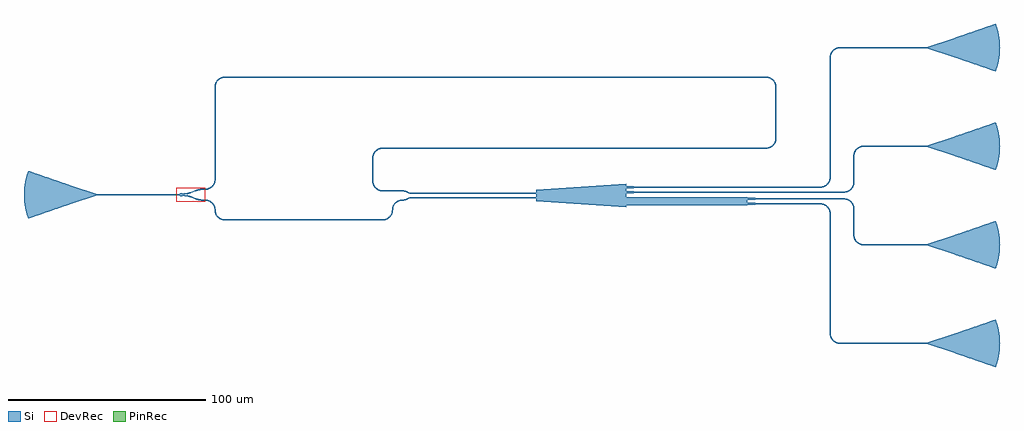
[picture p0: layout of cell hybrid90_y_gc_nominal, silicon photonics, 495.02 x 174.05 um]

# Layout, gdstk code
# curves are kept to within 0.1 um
from math import pi, radians
import gdstk
lib = gdstk.Library(unit=1e-6, precision=1e-09)
def R(c, l, rs):  # rectangles x0, y0, x1, y1
    for r in rs: c.add(gdstk.rectangle(r[:2], r[2:], *l))
def P(c, l, *ps):  # polygons
    for p in ps: c.add(gdstk.Polygon(p, *l))
Si = (1, 0)
PinRec = (1, 10)
DevRec = (68, 0)

ebeam_y_1550 = lib.new_cell('ebeam_y_1550')
R(ebeam_y_1550, Si, [(6.5,-3,7.4,-2.5), (-7.4,-0.25,-6,0.25), (6.5,2.5,7.4,3)])
P(ebeam_y_1550, Si, [(6.5,-3),(6.5,-2.5),(6.237,-2.497),(6.237,-2.997)],
  [(5.033,-2.404),(3.731,-2.154),(2.445,-1.744),(2.265,-2.21),(3.59,-2.634),(5.033,-2.908)],
  [(6.237,-2.997),(6.237,-2.497),(5.033,-2.404),(5.033,-2.908)],
  [(2.445,-1.744),(0.235,-0.89),(0.055,-1.356),(2.265,-2.21)],
  [(-0.762,-0.555),(-2.381,-0.212),(-4,-0.1),(-4,-0.6),(-2.334,-0.724),(-0.762,-1.076)],
  [(0.235,-0.89),(-0.762,-0.555),(-0.762,-1.076),(0.049,-1.354)],
  [(6.244,2.497),(6.5,2.5),(6.5,3),(6.237,2.997)],
  [(2.451,1.746),(3.731,2.154),(5.033,2.404),(5.033,2.908),(3.59,2.634),(2.267,2.211)],
  [(5.112,2.414),(6.237,2.497),(6.237,2.997),(5.033,2.908),(5.033,2.404)],
  [(2.445,1.744),(2.265,2.21),(0.055,1.356),(0.235,0.89)],
  [(-3.958,0.1),(-2.381,0.212),(-0.762,0.555),(-0.762,1.076),(-2.334,0.724),(-4,0.6)],
  [(-0.72,0.567),(0.235,0.89),(0.055,1.356),(-0.762,1.076),(-0.762,0.555)],
  [(-5.122,0.662),(-5.442,0.374),(-5.808,0.255),(-6,0.25),(-6,-0.25),(-5.817,-0.253),(-5.442,-0.374),(-5.122,-0.662)],
  [(-4.91,-0.703),(-4,-0.6),(-4,0.6),(-4.538,0.703),(-5.122,0.662),(-5.122,-0.662)])
R(ebeam_y_1550, PinRec, [(7.35,-3,7.45,-2.5), (-7.45,-0.25,-7.35,0.25), (7.35,2.5,7.45,3)])
R(ebeam_y_1550, DevRec, [(-7.4,-3.5,7.4,3.5)])
ebeam_y_1550.add(gdstk.Label('opt2', (7.4,2.75), layer=1, texttype=10))
ebeam_y_1550.add(gdstk.Label('opt3', (7.4,-2.75), layer=1, texttype=10))
ebeam_y_1550.add(gdstk.Label('opt1', (-7.4,0), layer=1, texttype=10))
ebeam_y_1550.add(gdstk.Label('Ref: Y Zhang, Opt. Express, 21/1, 2013', (-7.5,-1), layer=10, texttype=0))
ebeam_y_1550.add(gdstk.Label('Component=ebeam_y_1550', (-6,1.5), layer=68, texttype=0))

hybrid90_nominal = lib.new_cell('hybrid90_nominal')
P(hybrid90_nominal, Si, [(127,4.505),(65.5,4.505),(57.5,5.005),(57.5,6),(12,3.038),(12,1.518),(2,1.268),(2,0.768),(12,0.518),(12,-0.518),(2,-0.768),(2,-1.268),(12,-1.518),(12,-3.038),(57.5,-6),(57.5,-5.005),(119,-5.005),(129,-4.505),(129,-4.005),(119,-3.505),(119,-2.495),(129,-1.995),(129,-1.495),(119,-0.995),(57.5,-0.995),(57.5,0.995),(65.5,1.495),(129,1.495),(129,1.995),(65.5,1.995),(57.5,2.495),(57.5,3.505),(65.5,4.005),(129,4.005),(129,4.505)])

bend__4ccwvx2s5jjpbrppt3 = lib.new_cell('bend__4CCWVX2S5JJPBRPPT3SB43K4GC5NSA5TC4VQ5S3XEP3GLUS5GKPA')
P(bend__4ccwvx2s5jjpbrppt3, Si, [(0,-0.25),(0.873,-0.331),(1.51,-0.496),(2.501,-0.961),(3.2,-1.49),(3.791,-2.137),(4.345,-3.081),(4.624,-3.912),(4.75,-5),(5.25,-5),(5.161,-4.035),(4.803,-2.879),(4.19,-1.836),(3.537,-1.12),(2.555,-0.413),(1.897,-0.105),(1.202,0.111),(0,0.25)])

bend__76s6f7eh4idhcps23q = lib.new_cell('bend__76S6F7EH4IDHCPS23QG6BLRDTFOK2CAHYQXKUBOHAKYPNHVK3SBQ')
P(bend__76s6f7eh4idhcps23q, Si, [(0,-0.25),(0.965,-0.161),(1.897,0.105),(2.764,0.536),(3.537,1.12),(4.19,1.836),(4.803,2.879),(5.161,4.035),(5.25,5),(4.75,5),(4.624,3.912),(4.345,3.081),(4.039,2.499),(3.359,1.641),(2.501,0.961),(1.919,0.655),(1.088,0.376),(0,0.25)])

straight__uwgzfninm3yl2n = lib.new_cell('straight__UWGZFNINM3YL2NLPM22QVDY2ZQT2QVIKS4VQEO2UER2KHA3ZY4NA')
R(straight__uwgzfninm3yl2n, Si, [(0,-0.25,80,0.25)])

l1_nominal = lib.new_cell('L1_nominal')
l1_nominal.add(gdstk.Reference(bend__4ccwvx2s5jjpbrppt3, (-156,-2.35)))
l1_nominal.add(gdstk.Reference(bend__76s6f7eh4idhcps23q, (-151,-7.35), rotation=3*pi/2))
l1_nominal.add(gdstk.Reference(straight__uwgzfninm3yl2n, (-146,-12.35)))
l1_nominal.add(gdstk.Reference(bend__76s6f7eh4idhcps23q, (-66,-12.35)))
l1_nominal.add(gdstk.Reference(bend__4ccwvx2s5jjpbrppt3, (-61,-7.35), rotation=pi/2))

straight__gfvuvld72ni4ya = lib.new_cell('straight__GFVUVLD72NI4YAWHBYMZ47ADLQYHIJWNV35WOQL7MZZVGTIYRM7A')
R(straight__gfvuvld72ni4ya, Si, [(0,-0.25,46.85,0.25)])

straight__w7mluvcso7pzks = lib.new_cell('straight__W7MLUVCSO7PZKSJU63TFPWN4XL6OE4T3TJLOKFZANIX5WQZWIT2A')
R(straight__w7mluvcso7pzks, Si, [(0,-0.25,274.451,0.25)])

straight__fu6oy7zhddxzih = lib.new_cell('straight__FU6OY7ZHDDXZIHJ53X5LPZG67VMQXNTIHIPK6NGZ3AVRLNFARKYA')
R(straight__fu6oy7zhddxzih, Si, [(0,-0.25,26,0.25)])

straight__47eb3ujqxcscz6 = lib.new_cell('straight__47EB3UJQXCSCZ6WNPCSXEQE5SLSE4UH7W4TY4SVGLXG4ALZHGVOA')
R(straight__47eb3ujqxcscz6, Si, [(0,-0.25,194.451,0.25)])

straight__kkzbeovevb3cwx = lib.new_cell('straight__KKZBEOVEVB3CWXONE2L2XZCYXB3ZTODLFYRJSTMQGGPZGSXAVAJA')
R(straight__kkzbeovevb3cwx, Si, [(0,-0.25,11.65,0.25)])

straight__3kb6m6h6vls4hv = lib.new_cell('straight__3KB6M6H6VLS4HVJIMNSSPEP34UMOWWQ6DFLWZRYADSUOTNK55ADA')
R(straight__3kb6m6h6vls4hv, Si, [(0,-0.25,10,0.25)])

l2_nominal = lib.new_cell('L2_nominal')
l2_nominal.add(gdstk.Reference(bend__76s6f7eh4idhcps23q, (-156,3.15)))
l2_nominal.add(gdstk.Reference(straight__gfvuvld72ni4ya, (-151,8.15), rotation=pi/2))
l2_nominal.add(gdstk.Reference(bend__4ccwvx2s5jjpbrppt3, (-151,55), rotation=pi/2))
l2_nominal.add(gdstk.Reference(straight__w7mluvcso7pzks, (-146,60)))
l2_nominal.add(gdstk.Reference(bend__4ccwvx2s5jjpbrppt3, (128.451,60)))
l2_nominal.add(gdstk.Reference(straight__fu6oy7zhddxzih, (133.451,55), rotation=3*pi/2))
l2_nominal.add(gdstk.Reference(bend__4ccwvx2s5jjpbrppt3, (133.451,29), rotation=3*pi/2))
l2_nominal.add(gdstk.Reference(straight__47eb3ujqxcscz6, (128.451,24), rotation=pi))
l2_nominal.add(gdstk.Reference(bend__76s6f7eh4idhcps23q, (-66,24), rotation=pi))
l2_nominal.add(gdstk.Reference(straight__kkzbeovevb3cwx, (-71,19), rotation=3*pi/2))
l2_nominal.add(gdstk.Reference(bend__76s6f7eh4idhcps23q, (-71,7.35), rotation=3*pi/2))
l2_nominal.add(gdstk.Reference(straight__3kb6m6h6vls4hv, (-66,2.35)))

s_bend__7miof5fdobqqzavs = lib.new_cell('s_bend__7MIOF5FDOBQQZAVSWZKLBWNUPZ5WYH6LDNP2P2S22CU66DFF3JYQ')
P(s_bend__7miof5fdobqqzavs, Si, [(0,-0.25),(0.741,-0.308),(1.464,-0.481),(2.857,-1.131),(3.632,-1.404),(4.987,-1.582),(4.987,-1.082),(4.246,-1.024),(3.523,-0.851),(2.13,-0.201),(1.355,0.072),(0,0.25)])

straight__wrccaubebez5wd = lib.new_cell('straight__WRCCAUBEBEZ5WDMVOSRJ4RQBAQPUTJLFTC6ZKUHHNIHPBL6KMGWQ')
R(straight__wrccaubebez5wd, Si, [(0,-0.25,53.013,0.25)])

liga1_nominal = lib.new_cell('liga1_nominal')
liga1_nominal.add(gdstk.Reference(s_bend__7miof5fdobqqzavs, (-56,2.35)))
liga1_nominal.add(gdstk.Reference(straight__wrccaubebez5wd, (-51.013,1.018)))

s_bend__23h3v3ljgjnircem = lib.new_cell('s_bend__23H3V3LJGJNIRCEMIGE6JEDZVOSHDCM6BVLMPQINLIBSTQOBLNZQ')
P(s_bend__23h3v3ljgjnircem, Si, [(0,-0.25),(1.355,-0.072),(2.13,0.201),(3.523,0.851),(4.246,1.024),(4.987,1.082),(4.987,1.582),(3.632,1.404),(2.857,1.131),(1.464,0.481),(0.741,0.308),(0,0.25)])

liga2_nominal = lib.new_cell('liga2_nominal')
liga2_nominal.add(gdstk.Reference(s_bend__23h3v3ljgjnircem, (-56,-2.35)))
liga2_nominal.add(gdstk.Reference(straight__wrccaubebez5wd, (-51.013,-1.018)))

hybrid90_y_nominal = lib.new_cell('hybrid90_y_nominal')
hybrid90_y_nominal.add(gdstk.Reference(ebeam_y_1550, (-163.4,0.4)))
hybrid90_y_nominal.add(gdstk.Reference(hybrid90_nominal, (0,0)))
hybrid90_y_nominal.add(gdstk.Reference(l1_nominal, (0,0)))
hybrid90_y_nominal.add(gdstk.Reference(l2_nominal, (0,0)))
hybrid90_y_nominal.add(gdstk.Reference(liga1_nominal, (0,0)))
hybrid90_y_nominal.add(gdstk.Reference(liga2_nominal, (0,0)))

saida_3_nominal = lib.new_cell('saida_3_nominal')
P(saida_3_nominal, Si, [(129,4.005),(156.484,4.027),(157.202,4.144),(157.897,4.36),(158.555,4.668),(159.164,5.065),(160.039,5.901),(160.7,6.915),(161.111,8.053),(161.25,9.255),(161.25,70),(161.376,71.088),(161.655,71.919),(162.209,72.863),(162.965,73.654),(163.499,74.039),(164.49,74.504),(165.127,74.669),(166,74.75),(210,74.75),(210,75.25),(166,75.25),(165.035,75.161),(164.103,74.895),(163.236,74.464),(162.463,73.88),(161.81,73.164),(161.197,72.121),(160.889,71.202),(160.756,70.242),(160.75,9.255),(160.624,8.167),(160.252,7.138),(159.654,6.22),(158.863,5.464),(158.311,5.105),(157.51,4.751),(156.438,4.525),(129,4.505)])

gratingcoupler_te_oxide_ = lib.new_cell('GratingCoupler_TE_Oxide_8degrees')
P(gratingcoupler_te_oxide_, Si, [(-9.525,27.851),(-8.369,28.255),(-7.253,28.59),(-6.123,28.877),(-5.042,29.104),(-3.769,29.313),(-2.487,29.462),(-1.321,29.544),(-0.092,29.576),(1.137,29.552),(2.364,29.473),(3.403,29.362),(4.558,29.191),(5.884,28.931),(7.135,28.622),(8.369,28.255),(9.583,27.83),(9.614,27.92),(8.513,28.309),(7.277,28.683),(5.963,29.012),(4.816,29.243),(3.72,29.417),(2.31,29.574),(1.141,29.648),(-0.093,29.672),(-1.511,29.63),(-2.74,29.534),(-4.086,29.364),(-5.3,29.152),(-6.143,28.971),(-6.801,28.81),(-8.103,28.44),(-8.746,28.231),(-9.614,27.92),(-9.583,27.83)],
  [(-9.579,28.007),(-7.413,28.718),(-5.252,29.234),(-2.87,29.593),(-0.587,29.738),(2.131,29.661),(4.645,29.346),(7.175,28.784),(9.636,27.986),(9.778,28.397),(7.341,29.19),(4.713,29.776),(2.1,30.1),(-0.659,30.172),(-3.659,29.937),(-6.553,29.394),(-8.122,28.963),(-9.778,28.397),(-9.636,27.986)],
  [(-9.684,28.51),(-8.5,28.92),(-7.358,29.26),(-6.263,29.537),(-5.095,29.781),(-3.792,29.992),(-2.481,30.141),(-1.226,30.225),(-0.094,30.252),(1.226,30.225),(2.356,30.152),(3.419,30.041),(4.662,29.858),(5.957,29.606),(7.237,29.293),(8.5,28.92),(9.802,28.466),(9.833,28.556),(8.647,28.973),(7.382,29.353),(6.222,29.645),(5.049,29.887),(3.805,30.087),(2.552,30.231),(1.23,30.321),(-0.095,30.348),(-1.23,30.321),(-2.552,30.231),(-3.805,30.087),(-5.173,29.864),(-5.976,29.7),(-6.773,29.513),(-8.167,29.125),(-9.005,28.854),(-9.833,28.556),(-9.802,28.466)],
  [(-9.619,28.71),(-7.338,29.438),(-5.123,29.946),(-2.872,30.272),(-0.601,30.414),(2.117,30.34),(4.75,30.013),(7.338,29.438),(9.855,28.622),(9.997,29.033),(7.32,29.894),(4.818,30.443),(2.083,30.779),(-0.609,30.849),(-3.678,30.616),(-6.513,30.097),(-8.365,29.593),(-9.997,29.033),(-9.855,28.622)],
  [(-9.961,29.124),(-8.69,29.566),(-7.708,29.862),(-6.403,30.197),(-5.146,30.458),(-3.877,30.662),(-2.472,30.82),(-1.189,30.903),(-0.096,30.928),(1.189,30.903),(2.344,30.831),(3.559,30.704),(4.703,30.536),(6.027,30.281),(7.337,29.964),(8.69,29.566),(10.021,29.102),(10.052,29.193),(9.327,29.455),(8.656,29.678),(7.546,30.007),(6.423,30.291),(5.731,30.442),(4.971,30.587),(3.698,30.783),(2.48,30.916),(1.193,30.999),(-0.097,31.024),(-1.451,30.987),(-2.801,30.886),(-4.145,30.721),(-5.415,30.505),(-5.983,30.389),(-6.924,30.17),(-7.546,30.007),(-8.411,29.755),(-9.327,29.455),(-10.052,29.193),(-10.021,29.102)],
  [(-10.014,29.28),(-7.874,29.988),(-5.427,30.575),(-3,30.938),(-0.549,31.091),(2.099,31.019),(4.856,30.68),(7.439,30.109),(10.074,29.258),(10.216,29.669),(7.732,30.48),(4.924,31.11),(2.063,31.458),(-0.623,31.525),(-3.693,31.295),(-6.783,30.726),(-8.548,30.241),(-10.216,29.669),(-10.074,29.258)],
  [(-10.178,29.761),(-9.005,30.172),(-7.624,30.585),(-6.287,30.915),(-5.129,31.147),(-3.832,31.35),(-2.526,31.494),(-1.15,31.581),(-0.099,31.604),(1.15,31.581),(2.526,31.494),(3.832,31.35),(5,31.17),(6.287,30.915),(7.624,30.585),(9.005,30.172),(10.24,29.738),(10.271,29.829),(9.032,30.264),(7.774,30.643),(6.563,30.951),(5.145,31.242),(3.778,31.454),(2.468,31.595),(1.153,31.677),(-0.099,31.7),(-1.482,31.662),(-2.862,31.559),(-4.17,31.4),(-5.598,31.157),(-6.563,30.951),(-7.266,30.779),(-8.594,30.403),(-9.468,30.118),(-10.271,29.829),(-10.24,29.738)],
  [(-10.232,29.917),(-7.855,30.694),(-5.481,31.252),(-2.934,31.624),(-0.561,31.767),(2.211,31.688),(4.961,31.347),(7.728,30.729),(10.293,29.894),(10.435,30.305),(7.769,31.169),(5.029,31.777),(2.041,32.137),(-0.636,32.201),(-3.64,31.983),(-6.733,31.431),(-8.54,30.948),(-10.435,30.305),(-10.293,29.894)],
  [(-10.396,30.397),(-9.134,30.838),(-7.787,31.239),(-6.618,31.532),(-5.437,31.777),(-4.18,31.984),(-2.848,32.143),(-1.442,32.245),(-0.101,32.28),(1.241,32.254),(2.447,32.179),(3.781,32.038),(5.041,31.848),(6.291,31.605),(7.787,31.239),(9.134,30.838),(10.459,30.374),(10.49,30.465),(9.161,30.93),(7.81,31.332),(6.441,31.67),(5.188,31.92),(3.992,32.107),(2.521,32.269),(1.245,32.35),(-0.101,32.376),(-1.379,32.344),(-2.789,32.245),(-4.192,32.079),(-5.585,31.847),(-7.03,31.533),(-7.81,31.332),(-8.584,31.11),(-9.479,30.825),(-10.49,30.465),(-10.459,30.374)],
  [(-10.449,30.553),(-8.022,31.347),(-5.531,31.93),(-2.997,32.297),(-0.506,32.444),(2.392,32.352),(5.133,32.002),(7.892,31.383),(10.512,30.53),(10.654,30.941),(7.867,31.841),(5.202,32.432),(2.288,32.797),(-0.581,32.878),(-2.288,32.797),(-3.851,32.637),(-6.941,32.075),(-8.654,31.617),(-10.654,30.941),(-10.512,30.53)],
  [(-10.55,31.058),(-9.52,31.42),(-8.082,31.857),(-6.823,32.177),(-5.483,32.455),(-4.064,32.682),(-2.771,32.829),(-1.473,32.92),(-0.034,32.956),(1.13,32.935),(2.566,32.847),(3.928,32.7),(5.146,32.515),(6.489,32.252),(7.818,31.929),(9.13,31.546),(9.843,31.311),(10.678,31.01),(10.709,31.101),(9.287,31.597),(8.105,31.95),(6.843,32.271),(5.432,32.562),(4.144,32.768),(2.847,32.918),(1.477,33.016),(-0.034,33.052),(-1.477,33.016),(-2.984,32.905),(-4.28,32.749),(-5.701,32.512),(-6.441,32.361),(-7.31,32.159),(-8.105,31.95),(-8.829,31.74),(-9.872,31.402),(-10.709,31.101),(-10.678,31.01)],
  [(-10.539,31.238),(-8.189,32),(-5.646,32.595),(-3.128,32.963),(-0.516,33.12),(2.442,33.026),(5.24,32.669),(8.189,32),(10.731,31.166),(10.873,31.578),(8.163,32.459),(5.103,33.134),(2.335,33.471),(-0.593,33.554),(-3.723,33.334),(-5.515,33.062),(-6.948,32.766),(-8.965,32.227),(-10.873,31.578),(-10.731,31.166)],
  [(-10.831,31.67),(-9.45,32.151),(-8.18,32.529),(-6.963,32.837),(-5.596,33.121),(-4.216,33.343),(-2.828,33.502),(-1.363,33.602),(-0.035,33.632),(1.293,33.605),(2.41,33.538),(3.8,33.397),(5.183,33.194),(6.418,32.958),(7.641,32.672),(8.449,32.454),(9.251,32.214),(10.045,31.953),(10.897,31.646),(10.928,31.737),(9.61,32.2),(8.204,32.622),(6.983,32.931),(5.543,33.228),(4.089,33.457),(2.836,33.598),(1.297,33.701),(-0.035,33.728),(-1.297,33.701),(-2.836,33.598),(-4.228,33.438),(-5.749,33.19),(-6.436,33.052),(-7.323,32.85),(-8.069,32.659),(-9.01,32.389),(-10.008,32.067),(-10.928,31.737),(-10.897,31.646)],
  [(-10.885,31.827),(-8.356,32.653),(-5.83,33.247),(-3.331,33.621),(-0.527,33.796),(2.352,33.711),(5.14,33.371),(8.153,32.709),(10.95,31.802),(11.092,32.214),(8.19,33.15),(5.486,33.753),(2.524,34.134),(-0.605,34.23),(-2.382,34.145),(-3.939,33.988),(-7.157,33.41),(-9.145,32.876),(-11.092,32.214),(-10.95,31.802)],
  [(-11.049,32.307),(-9.64,32.797),(-8.413,33.164),(-7.033,33.513),(-5.568,33.812),(-4.16,34.032),(-2.813,34.182),(-1.462,34.274),(-0.036,34.308),(1.462,34.274),(2.813,34.182),(4.16,34.032),(5.428,33.837),(6.825,33.56),(7.725,33.346),(8.413,33.164),(9.843,32.731),(11.116,32.282),(11.147,32.373),(9.87,32.823),(8.437,33.257),(7.123,33.591),(5.654,33.894),(4.242,34.118),(2.75,34.284),(1.466,34.37),(-0.036,34.404),(-1.466,34.37),(-3.035,34.258),(-3.888,34.164),(-4.596,34.068),(-5.865,33.855),(-7.331,33.542),(-8.161,33.332),(-8.917,33.12),(-10.141,32.733),(-11.147,32.373),(-11.116,32.282)],
  [(-11.102,32.463),(-8.523,33.306),(-5.947,33.912),(-3.326,34.301),(-0.466,34.473),(2.542,34.374),(5.525,33.99),(8.247,33.382),(11.169,32.438),(11.311,32.85),(8.212,33.842),(5.38,34.457),(2.357,34.825),(-0.544,34.907),(-2.357,34.825),(-3.945,34.668),(-5.666,34.407),(-7.228,34.086),(-9.257,33.546),(-11.311,32.85),(-11.169,32.438)],
  [(-11.267,32.943),(-10.037,33.376),(-8.649,33.798),(-7.243,34.157),(-6.391,34.342),(-5.678,34.478),(-4.314,34.693),(-2.941,34.849),(-1.563,34.946),(-0.036,34.984),(0.764,34.975),(1.563,34.946),(2.796,34.862),(4.17,34.712),(5.463,34.516),(6.818,34.252),(7.878,34.003),(8.649,33.798),(9.622,33.509),(10.517,33.214),(11.335,32.918),(11.366,33.009),(10.064,33.468),(8.673,33.891),(7.263,34.251),(5.837,34.547),(4.614,34.748),(3.892,34.844),(3.022,34.938),(1.567,35.042),(0.766,35.071),(-0.036,35.08),(-1.567,35.042),(-3.095,34.931),(-4.614,34.748),(-6.123,34.493),(-6.907,34.331),(-7.758,34.132),(-9.232,33.729),(-10.34,33.376),(-11.366,33.009),(-11.335,32.918)],
  [(-11.32,33.1),(-8.69,33.959),(-6.064,34.577),(-3.319,34.981),(-0.475,35.149),(2.591,35.048),(5.561,34.669),(8.55,33.998),(11.388,33.074),(11.53,33.486),(8.656,34.42),(5.63,35.099),(2.55,35.488),(-0.555,35.583),(-2.402,35.499),(-4.095,35.33),(-7.368,34.746),(-9.506,34.174),(-11.53,33.486),(-11.388,33.074)],
  [(-11.484,33.58),(-10.09,34.067),(-8.816,34.451),(-7.383,34.817),(-5.933,35.118),(-4.544,35.343),(-3.735,35.446),(-2.924,35.529),(-1.445,35.628),(-0.037,35.66),(1.445,35.628),(2.777,35.542),(4.103,35.402),(5.568,35.183),(6.804,34.945),(8.102,34.642),(9.101,34.37),(9.949,34.112),(10.86,33.807),(11.554,33.554),(11.585,33.645),(10.188,34.136),(8.84,34.544),(7.402,34.911),(5.876,35.226),(4.63,35.428),(3.819,35.533),(3.006,35.618),(1.449,35.724),(-0.037,35.756),(-1.449,35.724),(-3.006,35.618),(-3.819,35.533),(-4.63,35.428),(-6.022,35.199),(-6.895,35.024),(-7.763,34.825),(-8.625,34.603),(-9.481,34.358),(-10.539,34.019),(-11.585,33.645),(-11.554,33.554)],
  [(-11.538,33.736),(-8.929,34.592),(-6.18,35.242),(-3.457,35.646),(-0.633,35.822),(2.567,35.728),(5.521,35.361),(8.571,34.691),(11.607,33.71),(11.749,34.122),(8.748,35.094),(5.514,35.804),(2.523,36.168),(-0.565,36.259),(-2.373,36.179),(-4.173,36.001),(-5.959,35.726),(-7.508,35.406),(-9.615,34.845),(-11.749,34.122),(-11.607,33.71)],
  [(-11.702,34.216),(-10.353,34.689),(-9.634,34.915),(-8.765,35.164),(-7.963,35.372),(-7.155,35.56),(-5.823,35.824),(-4.406,36.044),(-3.055,36.196),(-1.548,36.3),(-0.038,36.336),(1.548,36.3),(2.754,36.222),(4.181,36.073),(5.674,35.85),(7.007,35.592),(8.328,35.28),(9.128,35.063),(9.994,34.804),(10.852,34.522),(11.773,34.19),(11.804,34.281),(10.524,34.734),(9.007,35.197),(7.542,35.571),(5.987,35.892),(4.492,36.129),(2.912,36.305),(1.552,36.396),(-0.038,36.432),(-1.552,36.396),(-2.384,36.347),(-3.289,36.27),(-4.792,36.087),(-6.359,35.822),(-7.174,35.654),(-7.984,35.465),(-8.716,35.277),(-9.588,35.029),(-10.81,34.638),(-11.804,34.281),(-11.773,34.19)],
  [(-11.756,34.373),(-9.17,35.224),(-6.297,35.907),(-3.371,36.334),(-0.645,36.498),(2.54,36.408),(5.551,36.041),(8.659,35.365),(11.826,34.346),(11.968,34.758),(8.985,35.728),(5.919,36.419),(2.8,36.824),(-0.499,36.936),(-2.264,36.864),(-4.098,36.691),(-5.919,36.419),(-7.573,36.083),(-9.941,35.45),(-11.968,34.758),(-11.826,34.346)],
  [(-11.848,34.88),(-10.399,35.382),(-9.002,35.798),(-7.588,36.154),(-6.007,36.477),(-4.564,36.704),(-2.959,36.883),(-1.5,36.979),(-0.038,37.012),(1.5,36.979),(2.959,36.883),(4.259,36.744),(5.78,36.517),(7.138,36.254),(8.409,35.955),(9.446,35.673),(10.399,35.382),(11.199,35.114),(11.992,34.826),(12.023,34.917),(11.301,35.18),(10.427,35.474),(9.026,35.891),(7.682,36.231),(6.098,36.558),(4.652,36.789),(3.043,36.972),(1.427,37.078),(-0.039,37.108),(-1.581,37.071),(-3.12,36.965),(-4.652,36.789),(-5.414,36.675),(-6.325,36.516),(-7.231,36.332),(-8.057,36.142),(-8.952,35.911),(-9.692,35.701),(-10.865,35.33),(-12.023,34.917),(-11.992,34.826)],
  [(-6.477,18.94),(-5.651,19.227),(-4.852,19.464),(-4.164,19.637),(-3.223,19.829),(-2.397,19.956),(-1.608,20.042),(-0.815,20.094),(-0.063,20.112),(0.69,20.099),(1.399,20.059),(2.19,19.982),(2.976,19.871),(3.797,19.718),(4.811,19.475),(5.651,19.227),(6.516,18.925),(6.548,19.016),(5.838,19.267),(4.956,19.535),(4.02,19.768),(3.197,19.931),(2.409,20.051),(1.657,20.134),(0.819,20.19),(-0.063,20.208),(-0.945,20.184),(-1.866,20.114),(-2.658,20.017),(-3.609,19.854),(-4.591,19.632),(-5.638,19.332),(-6.548,19.016),(-6.516,18.925)],
  [(-6.492,19.111),(-5.095,19.569),(-3.664,19.916),(-2.041,20.168),(-0.527,20.273),(1.285,20.236),(3.084,20.023),(4.811,19.647),(6.57,19.081),(6.712,19.493),(4.997,20.048),(3.192,20.446),(1.441,20.661),(-0.538,20.708),(-2.81,20.507),(-4.956,20.059),(-6.712,19.493),(-6.57,19.081)],
  [(-6.655,19.591),(-5.882,19.86),(-5.015,20.118),(-4.304,20.297),(-3.416,20.48),(-2.52,20.621),(-1.748,20.708),(-1.015,20.761),(-0.065,20.788),(0.756,20.773),(1.576,20.723),(2.349,20.643),(3.204,20.517),(4.135,20.335),(5.015,20.118),(5.882,19.86),(6.735,19.561),(6.767,19.652),(5.909,19.952),(5.08,20.2),(4.324,20.391),(3.475,20.567),(2.489,20.722),(1.626,20.815),(0.76,20.869),(-0.065,20.884),(-1.02,20.857),(-1.929,20.787),(-2.833,20.674),(-3.603,20.543),(-4.619,20.32),(-5.662,20.03),(-6.767,19.652),(-6.735,19.561)],
  [(-6.749,19.732),(-5.181,20.245),(-3.658,20.605),(-2.065,20.845),(-0.632,20.946),(1.197,20.919),(3.187,20.69),(5.013,20.291),(6.789,19.717),(6.931,20.129),(5.075,20.725),(3.209,21.128),(1.355,21.345),(-0.511,21.385),(-2.682,21.208),(-4.989,20.748),(-6.931,20.129),(-6.789,19.717)],
  [(-6.913,20.213),(-5.989,20.533),(-5.135,20.784),(-4.444,20.957),(-3.615,21.13),(-2.823,21.261),(-1.893,21.373),(-1.048,21.436),(-0.067,21.464),(0.692,21.452),(1.538,21.404),(2.337,21.325),(3.264,21.192),(4.226,21.006),(5.135,20.784),(5.989,20.533),(6.954,20.197),(6.986,20.288),(6.101,20.598),(5.158,20.877),(4.245,21.1),(3.367,21.272),(2.614,21.387),(1.723,21.485),(0.739,21.546),(-0.067,21.56),(-1.053,21.532),(-1.946,21.464),(-2.925,21.343),(-3.807,21.191),(-4.985,20.923),(-6.016,20.625),(-6.986,20.288),(-6.954,20.197)],
  [(-6.924,20.385),(-5.391,20.886),(-3.82,21.261),(-2.311,21.497),(-0.607,21.623),(1.371,21.585),(3.245,21.365),(5.218,20.934),(7.008,20.353),(7.15,20.765),(5.191,21.392),(3.356,21.788),(1.49,22.013),(-0.482,22.062),(-2.766,21.878),(-5.191,21.392),(-7.15,20.765),(-7.008,20.353)],
  [(-5.878,17.186),(-4.585,17.612),(-3.334,17.917),(-1.987,18.134),(-0.588,18.242),(1.119,18.215),(2.738,18.027),(4.366,17.673),(5.913,17.173),(6.055,17.585),(4.583,18.065),(2.842,18.451),(1.106,18.652),(-0.602,18.677),(-2.688,18.476),(-4.732,18.023),(-6.055,17.585)],
  [(-6.042,17.667),(-5.493,17.862),(-4.601,18.135),(-3.884,18.317),(-3.16,18.468),(-2.352,18.599),(-1.616,18.684),(-0.721,18.745),(-0.059,18.76),(0.721,18.745),(1.461,18.698),(2.081,18.634),(2.776,18.535),(3.656,18.368),(4.413,18.186),(5.16,17.97),(6.078,17.653),(6.11,17.744),(5.484,17.966),(4.7,18.207),(3.904,18.411),(3.099,18.577),(2.364,18.694),(1.546,18.787),(0.725,18.841),(-0.059,18.856),(-0.725,18.841),(-1.663,18.776),(-2.519,18.672),(-3.406,18.518),(-4.36,18.299),(-5.336,18.014),(-6.11,17.744),(-6.078,17.653)],
  [(-6.095,17.823),(-4.83,18.243),(-3.381,18.596),(-1.944,18.819),(-0.571,18.919),(1.199,18.887),(2.801,18.701),(4.566,18.317),(6.132,17.809),(6.274,18.221),(4.555,18.771),(2.905,19.125),(1.187,19.324),(-0.584,19.354),(-2.786,19.144),(-4.71,18.729),(-6.274,18.221)],
  [(-6.26,18.303),(-5.461,18.581),(-4.728,18.799),(-3.985,18.986),(-3.234,19.141),(-2.517,19.258),(-1.634,19.361),(-0.868,19.415),(-0.061,19.436),(0.707,19.422),(1.473,19.375),(2.357,19.28),(2.955,19.19),(3.788,19.03),(4.728,18.799),(5.538,18.556),(6.297,18.289),(6.329,18.38),(5.488,18.673),(4.712,18.903),(3.965,19.089),(3.21,19.243),(2.368,19.375),(1.561,19.464),(0.71,19.518),(-0.061,19.532),(-1.035,19.502),(-1.885,19.433),(-2.77,19.317),(-3.489,19.19),(-4.516,18.955),(-5.488,18.673),(-6.329,18.38),(-6.297,18.289)],
  [(-6.313,18.459),(-4.886,18.928),(-3.462,19.268),(-2.094,19.482),(-0.55,19.596),(1.201,19.564),(2.941,19.362),(4.69,18.982),(6.351,18.445),(6.493,18.857),(4.714,19.426),(3.088,19.779),(1.27,19.996),(-0.562,20.031),(-2.595,19.856),(-4.714,19.426),(-6.493,18.857)],
  [(0.25,0),(4.818,13.993),(2.989,14.541),(1.035,14.833),(-0.85,14.846),(-2.747,14.593),(-4.818,13.993),(-0.25,0)],
  [(-4.789,14.004),(-2.747,14.593),(-1.619,14.776),(-0.603,14.859),(0.726,14.853),(2.078,14.713),(3.438,14.432),(4.818,13.993),(4.96,14.404),(3.662,14.823),(2.328,15.114),(1.002,15.272),(-0.525,15.298),(-2.328,15.114),(-4.15,14.682),(-4.96,14.404)],
  [(-4.954,14.484),(-4.352,14.694),(-3.772,14.868),(-3.184,15.017),(-2.622,15.135),(-2.055,15.23),(-1.484,15.302),(-0.751,15.36),(-0.176,15.379),(0.336,15.376),(1.038,15.342),(1.611,15.288),(2.213,15.206),(2.935,15.072),(3.649,14.901),(4.352,14.694),(4.983,14.473),(5.015,14.564),(4.41,14.776),(3.733,14.978),(3.079,15.139),(2.448,15.264),(1.845,15.356),(1.205,15.425),(0.563,15.465),(-0.177,15.475),(-0.981,15.442),(-1.589,15.387),(-2.195,15.306),(-2.922,15.173),(-3.795,14.961),(-4.623,14.705),(-5.015,14.564),(-4.983,14.473)],
  [(-4.977,14.651),(-3.875,15.012),(-2.809,15.269),(-1.629,15.455),(-0.566,15.537),(0.759,15.528),(2.205,15.377),(3.595,15.088),(5.037,14.629),(5.179,15.041),(3.792,15.486),(2.365,15.792),(0.98,15.951),(-0.581,15.972),(-2.496,15.77),(-4.302,15.34),(-5.179,15.041),(-5.037,14.629)],
  [(-5.171,15.121),(-4.512,15.35),(-3.938,15.521),(-3.324,15.677),(-2.77,15.794),(-2.079,15.909),(-1.516,15.978),(-0.751,16.037),(-0.184,16.055),(0.35,16.052),(1.017,16.021),(1.682,15.96),(2.343,15.869),(3.227,15.699),(3.873,15.539),(4.512,15.35),(5.202,15.109),(5.234,15.2),(4.539,15.442),(3.897,15.632),(3.246,15.793),(2.588,15.925),(1.892,16.031),(1.157,16.107),(0.52,16.143),(-0.185,16.151),(-0.99,16.119),(-1.625,16.063),(-2.357,15.964),(-3.082,15.829),(-3.897,15.632),(-4.793,15.358),(-5.234,15.2),(-5.202,15.109)],
  [(-5.225,15.277),(-4.108,15.646),(-2.931,15.933),(-1.733,16.123),(-0.556,16.214),(0.994,16.191),(2.434,16.024),(3.849,15.718),(5.256,15.265),(5.398,15.677),(3.986,16.132),(2.465,16.46),(0.986,16.628),(-0.571,16.649),(-2.465,16.46),(-4.285,16.048),(-5.398,15.677)],
  [(-5.357,15.769),(-4.702,15.996),(-4.07,16.184),(-3.464,16.337),(-2.784,16.478),(-2.063,16.593),(-1.476,16.661),(-0.782,16.712),(-0.052,16.732),(0.609,16.72),(1.164,16.688),(1.787,16.628),(2.51,16.526),(3.193,16.397),(3.936,16.22),(4.702,15.996),(5.421,15.745),(5.453,15.836),(4.828,16.056),(4.093,16.277),(3.484,16.431),(2.765,16.579),(2.179,16.674),(1.45,16.76),(0.682,16.813),(-0.052,16.828),(-0.787,16.808),(-1.45,16.76),(-2.179,16.674),(-2.971,16.54),(-3.891,16.331),(-4.729,16.088),(-5.453,15.836),(-5.421,15.745)],
  [(-5.442,15.913),(-4.212,16.317),(-2.95,16.617),(-1.735,16.803),(-0.509,16.892),(1.001,16.868),(2.466,16.703),(4.043,16.364),(5.475,15.901),(5.617,16.313),(4.078,16.805),(2.565,17.128),(0.99,17.305),(-0.559,17.326),(-2.458,17.145),(-4.39,16.719),(-5.617,16.313)],
  [(-5.607,16.394),(-4.823,16.664),(-4.13,16.866),(-3.463,17.029),(-2.79,17.163),(-2.075,17.273),(-1.464,17.341),(-0.778,17.389),(-0.054,17.408),(0.597,17.397),(1.211,17.362),(1.788,17.308),(2.504,17.211),(3.357,17.052),(4.13,16.866),(4.926,16.631),(5.64,16.381),(5.672,16.472),(4.988,16.712),(4.258,16.931),(3.589,17.099),(2.877,17.245),(2.05,17.373),(1.435,17.44),(0.673,17.49),(-0.055,17.504),(-0.782,17.485),(-1.653,17.419),(-2.374,17.328),(-3.198,17.183),(-4.082,16.978),(-4.988,16.712),(-5.672,16.472),(-5.64,16.381)],
  [(-5.626,16.563),(-4.38,16.97),(-3.068,17.281),(-1.805,17.475),(-0.457,17.57),(1.223,17.53),(2.745,17.341),(4.24,17.009),(5.694,16.537),(5.836,16.949),(4.309,17.441),(2.813,17.771),(1.216,17.967),(-0.505,18.004),(-2.517,17.819),(-4.561,17.371),(-5.836,16.949),(-5.694,16.537)],
  [(-5.649,17.095),(-5.046,17.3),(-4.29,17.521),(-3.634,17.682),(-2.935,17.823),(-2.379,17.913),(-1.558,18.011),(-0.733,18.068),(-0.056,18.084),(0.733,18.068),(1.446,18.021),(2.044,17.958),(2.75,17.855),(3.451,17.722),(4.29,17.521),(5.046,17.3),(5.859,17.017),(5.891,17.108),(5.252,17.334),(4.495,17.564),(3.764,17.751),(2.988,17.911),(2.167,18.039),(1.416,18.12),(0.661,18.167),(-0.057,18.18),(-0.775,18.162),(-1.604,18.103),(-2.391,18.008),(-3.21,17.869),(-4.094,17.671),(-5.073,17.392),(-5.891,17.108),(-5.859,17.017)],
  [(-7.131,20.849),(-6.352,21.123),(-5.474,21.39),(-4.584,21.617),(-3.638,21.812),(-2.73,21.956),(-1.77,22.063),(-0.989,22.116),(-0.069,22.14),(0.805,22.124),(1.77,22.063),(2.548,21.98),(3.412,21.852),(4.27,21.687),(5.297,21.438),(6.352,21.123),(7.173,20.833),(7.205,20.924),(6.38,21.215),(5.497,21.483),(4.604,21.711),(3.609,21.915),(2.788,22.045),(1.916,22.146),(0.994,22.212),(-0.069,22.236),(-0.994,22.212),(-1.916,22.146),(-2.971,22.019),(-3.836,21.873),(-5.052,21.602),(-6.028,21.327),(-6.642,21.127),(-7.205,20.924),(-7.173,20.833)],
  [(-7.184,21.006),(-5.515,21.551),(-3.803,21.952),(-2.199,22.19),(-0.58,22.3),(1.506,22.253),(3.392,22.025),(5.337,21.6),(7.227,20.989),(7.369,21.401),(5.395,22.035),(3.365,22.471),(1.441,22.694),(-0.638,22.734),(-2.945,22.535),(-5.35,22.047),(-7.369,21.401),(-7.227,20.989)],
  [(-7.348,21.486),(-6.546,21.768),(-5.641,22.043),(-4.724,22.277),(-3.749,22.478),(-2.86,22.62),(-1.918,22.728),(-1.067,22.789),(-0.071,22.816),(0.735,22.803),(1.635,22.752),(2.578,22.657),(3.469,22.527),(4.493,22.329),(5.458,22.093),(6.546,21.768),(7.392,21.469),(7.424,21.56),(6.619,21.845),(5.665,22.136),(4.743,22.371),(3.718,22.581),(2.778,22.728),(1.879,22.828),(1.024,22.887),(-0.071,22.912),(-1.024,22.887),(-2.069,22.81),(-3.249,22.66),(-4.186,22.492),(-5.344,22.223),(-6.438,21.904),(-7.424,21.56),(-7.392,21.469)],
  [(-7.402,21.642),(-5.82,22.165),(-4.058,22.59),(-2.313,22.857),(-0.597,22.976),(1.456,22.934),(3.354,22.716),(5.452,22.267),(7.446,21.625),(7.588,22.037),(5.556,22.69),(3.561,23.123),(1.532,23.365),(-0.609,23.411),(-3.032,23.205),(-5.415,22.727),(-7.588,22.037),(-7.446,21.625)],
  [(-7.566,22.122),(-6.74,22.413),(-5.714,22.722),(-4.816,22.948),(-3.861,23.144),(-2.945,23.29),(-2.024,23.397),(-1.098,23.464),(-0.073,23.492),(0.952,23.471),(1.926,23.406),(2.751,23.316),(3.668,23.178),(4.673,22.98),(5.714,22.722),(6.74,22.413),(7.611,22.105),(7.643,22.196),(6.721,22.52),(5.785,22.802),(4.883,23.031),(3.78,23.256),(2.811,23.405),(1.886,23.506),(0.956,23.567),(-0.074,23.588),(-1.103,23.56),(-2.081,23.488),(-3.103,23.365),(-4.165,23.184),(-5.312,22.927),(-6.441,22.609),(-7.643,22.196),(-7.611,22.105)],
  [(-7.619,22.279),(-5.991,22.817),(-4.226,23.245),(-2.429,23.524),(-0.566,23.653),(1.548,23.605),(3.598,23.36),(5.613,22.922),(7.665,22.261),(7.807,22.673),(5.764,23.332),(3.713,23.782),(1.527,24.043),(-0.576,24.088),(-2.921,23.902),(-5.474,23.408),(-7.807,22.673),(-7.665,22.261)],
  [(-7.784,22.759),(-6.838,23.089),(-5.83,23.389),(-4.955,23.608),(-3.972,23.81),(-2.98,23.967),(-2.082,24.07),(-1.03,24.144),(-0.075,24.168),(1.03,24.144),(1.882,24.088),(2.781,23.993),(3.774,23.845),(4.759,23.652),(5.83,23.389),(6.838,23.089),(7.83,22.741),(7.862,22.832),(6.866,23.181),(5.902,23.469),(4.729,23.757),(3.839,23.931),(2.842,24.082),(1.839,24.188),(0.883,24.246),(-0.076,24.264),(-1.135,24.235),(-2.14,24.161),(-3.241,24.027),(-4.235,23.858),(-5.513,23.572),(-6.626,23.257),(-7.2,23.07),(-7.862,22.832),(-7.83,22.741)],
  [(-7.79,22.933),(-6.113,23.483),(-4.198,23.938),(-2.398,24.207),(-0.531,24.33),(1.542,24.283),(3.75,24.019),(5.773,23.577),(7.884,22.897),(8.026,23.309),(5.976,23.973),(3.817,24.449),(1.621,24.714),(-0.592,24.764),(-3.258,24.537),(-5.678,24.052),(-8.026,23.309),(-7.884,22.897)],
  [(-7.857,23.449),(-6.932,23.766),(-6.093,24.016),(-5.043,24.28),(-4.083,24.476),(-2.961,24.651),(-2.037,24.753),(-1.11,24.817),(-0.077,24.844),(0.955,24.824),(1.934,24.762),(2.961,24.651),(3.879,24.512),(5.043,24.28),(6.093,24.016),(7.128,23.702),(8.049,23.377),(8.081,23.468),(6.959,23.858),(6.116,24.109),(5.062,24.374),(3.997,24.589),(2.921,24.753),(1.89,24.862),(0.959,24.92),(-0.078,24.94),(-1.114,24.913),(-2.303,24.824),(-3.383,24.689),(-4.404,24.513),(-5.566,24.254),(-6.761,23.92),(-7.449,23.696),(-8.081,23.468),(-8.049,23.377)],
  [(-8.055,23.552),(-6.333,24.121),(-4.315,24.603),(-2.517,24.874),(-0.546,25.006),(1.637,24.954),(3.803,24.695),(6.083,24.191),(8.103,23.533),(8.245,23.945),(6.088,24.641),(3.87,25.125),(1.612,25.392),(-0.555,25.441),(-3.138,25.236),(-5.628,24.76),(-8.245,23.945),(-8.103,23.533)],
  [(-8.219,24.032),(-7.372,24.331),(-6.36,24.641),(-5.387,24.893),(-4.194,25.142),(-3.147,25.308),(-2.04,25.431),(-1.034,25.497),(-0.08,25.52),(1.034,25.497),(1.934,25.44),(2.884,25.342),(3.776,25.214),(5.025,24.975),(6.054,24.725),(7.271,24.364),(8.268,24.013),(8.3,24.104),(7.4,24.423),(6.333,24.748),(5.303,25.011),(4.157,25.246),(3.159,25.403),(2.101,25.522),(1.038,25.593),(-0.08,25.616),(-1.304,25.58),(-2.313,25.502),(-3.422,25.366),(-4.575,25.167),(-5.871,24.872),(-7.046,24.537),(-8.3,24.104),(-8.268,24.013)],
  [(-8.272,24.188),(-6.402,24.802),(-4.431,25.268),(-2.532,25.552),(-0.507,25.683),(1.894,25.612),(4.064,25.335),(6.248,24.845),(8.322,24.169),(8.464,24.581),(6.354,25.267),(4.133,25.765),(1.926,26.046),(-0.57,26.117),(-3.275,25.899),(-5.935,25.378),(-8.464,24.581),(-8.322,24.169)],
  [(-8.437,24.669),(-7.412,25.026),(-6.372,25.337),(-5.423,25.577),(-4.358,25.798),(-3.284,25.971),(-2.257,26.09),(-1.116,26.17),(-0.082,26.196),(1.007,26.175),(1.985,26.114),(2.906,26.02),(4.037,25.855),(5.211,25.625),(6.372,25.337),(7.412,25.026),(8.487,24.649),(8.519,24.74),(7.388,25.135),(6.29,25.459),(5.284,25.707),(4.267,25.912),(3.134,26.088),(2.047,26.205),(1.011,26.271),(-0.082,26.292),(-1.284,26.258),(-2.374,26.175),(-3.404,26.051),(-4.589,25.852),(-5.815,25.582),(-7.024,25.248),(-7.698,25.033),(-8.519,24.74),(-8.487,24.649)],
  [(-8.49,24.825),(-6.465,25.484),(-4.494,25.943),(-2.489,26.236),(-0.466,26.36),(1.944,26.286),(4.171,26.002),(6.36,25.513),(8.541,24.805),(8.683,25.217),(6.411,25.95),(4.075,26.46),(1.865,26.729),(-0.529,26.794),(-3.249,26.584),(-5.981,26.062),(-8.683,25.217),(-8.541,24.805)],
  [(-8.602,25.324),(-7.551,25.689),(-6.429,26.02),(-5.346,26.286),(-4.251,26.503),(-3.258,26.656),(-2.092,26.783),(-1.089,26.848),(-0.084,26.872),(1.089,26.848),(2.092,26.783),(3.258,26.656),(4.141,26.522),(5.237,26.31),(6.429,26.02),(7.604,25.672),(8.706,25.286),(8.738,25.376),(7.631,25.764),(6.506,26.099),(5.419,26.368),(4.322,26.588),(3.159,26.766),(2.1,26.879),(1.093,26.944),(-0.084,26.968),(-1.261,26.936),(-2.323,26.859),(-3.381,26.736),(-4.707,26.517),(-6.018,26.226),(-7.311,25.865),(-8.108,25.604),(-8.738,25.376),(-8.706,25.286)],
  [(-8.708,25.461),(-6.793,26.092),(-4.719,26.587),(-2.832,26.878),(-0.646,27.032),(1.657,26.985),(4.112,26.697),(6.469,26.182),(8.76,25.442),(8.902,25.853),(6.463,26.634),(4.234,27.118),(1.912,27.403),(-0.543,27.47),(-3.388,27.247),(-6.076,26.733),(-7.394,26.368),(-8.902,25.853),(-8.76,25.442)],
  [(-8.872,25.942),(-7.632,26.37),(-6.645,26.66),(-5.536,26.935),(-4.471,27.15),(-3.397,27.319),(-2.259,27.447),(-1.231,27.518),(-0.086,27.548),(1.002,27.528),(1.974,27.471),(2.886,27.383),(4.189,27.199),(5.368,26.972),(6.645,26.66),(7.849,26.3),(8.926,25.922),(8.957,26.012),(7.877,26.392),(6.724,26.738),(5.723,26.991),(4.599,27.224),(3.352,27.422),(2.381,27.532),(1.235,27.614),(-0.086,27.644),(-1.235,27.614),(-2.496,27.521),(-3.693,27.374),(-4.769,27.192),(-6.058,26.911),(-7.385,26.547),(-8.094,26.32),(-8.957,26.012),(-8.926,25.922)],
  [(-8.926,26.098),(-6.797,26.791),(-4.668,27.284),(-2.56,27.587),(-0.605,27.709),(1.928,27.643),(4.271,27.355),(6.797,26.791),(8.979,26.078),(9.121,26.489),(6.791,27.244),(4.338,27.785),(2.017,28.073),(-0.497,28.147),(-3.355,27.933),(-6.169,27.405),(-7.743,26.965),(-9.121,26.489),(-8.979,26.078)],
  [(-9.09,26.578),(-8.153,26.909),(-6.921,27.283),(-5.843,27.557),(-4.696,27.795),(-3.422,27.997),(-2.373,28.115),(-1.202,28.196),(-0.088,28.224),(0.968,28.206),(2.022,28.145),(3.189,28.027),(4.234,27.876),(5.443,27.646),(6.808,27.314),(8.042,26.945),(9.145,26.558),(9.176,26.648),(8.125,27.019),(6.945,27.376),(5.806,27.664),(4.596,27.911),(3.375,28.1),(2.322,28.216),(1.207,28.292),(-0.088,28.32),(-1.207,28.292),(-2.557,28.194),(-3.842,28.035),(-5.001,27.835),(-6.263,27.555),(-7.621,27.179),(-8.459,26.907),(-9.176,26.648),(-9.145,26.558)],
  [(-9.143,26.734),(-7.246,27.364),(-5.013,27.905),(-2.857,28.235),(-0.62,28.385),(1.858,28.326),(4.317,28.032),(6.792,27.491),(9.198,26.714),(9.34,27.125),(6.954,27.898),(4.561,28.432),(2.065,28.747),(-0.449,28.824),(-3.317,28.619),(-6.085,28.119),(-7.701,27.683),(-9.34,27.125),(-9.198,26.714)],
  [(-9.308,27.215),(-8.177,27.609),(-6.972,27.968),(-5.808,28.257),(-4.808,28.461),(-3.742,28.635),(-2.49,28.783),(-1.171,28.874),(-0.09,28.9),(1.171,28.874),(2.37,28.794),(3.325,28.691),(4.631,28.493),(5.808,28.257),(6.914,27.984),(8.177,27.609),(9.364,27.194),(9.395,27.284),(8.205,27.701),(6.937,28.077),(5.827,28.351),(4.706,28.577),(3.456,28.771),(2.318,28.895),(1.175,28.97),(-0.09,28.996),(-1.296,28.964),(-2.558,28.873),(-3.874,28.713),(-5.061,28.511),(-5.827,28.351),(-6.471,28.198),(-7.227,27.997),(-7.861,27.81),(-8.547,27.588),(-9.395,27.284),(-9.364,27.194)],
  [(-9.305,27.392),(-7.07,28.114),(-4.955,28.604),(-2.865,28.914),(-0.574,29.062),(2.083,28.987),(4.539,28.679),(7.07,28.114),(9.417,27.35),(9.559,27.761),(7.176,28.536),(4.607,29.109),(1.992,29.43),(-0.644,29.496),(-3.395,29.29),(-6.346,28.75),(-8.057,28.278),(-9.559,27.761),(-9.417,27.35)])

saida_4_nominal = lib.new_cell('saida_4_nominal')
P(saida_4_nominal, Si, [(129,1.495),(168,1.495),(168.725,1.545),(169.437,1.695),(170.555,2.158),(171.537,2.865),(172.039,3.391),(172.464,3.981),(172.803,4.624),(173.05,5.308),(173.2,6.02),(173.25,6.745),(173.27,20.438),(173.496,21.51),(173.961,22.501),(174.641,23.359),(175.499,24.039),(176.7,24.569),(178,24.75),(210,24.75),(210,25.25),(178,25.25),(176.798,25.111),(175.445,24.587),(174.463,23.88),(173.961,23.354),(173.536,22.764),(173.022,21.668),(172.8,20.725),(172.75,6.745),(172.569,5.445),(172.039,4.244),(171.359,3.386),(170.501,2.706),(169.3,2.176),(168,1.995),(129,1.995)])

saida_5_nominal = lib.new_cell('saida_5_nominal')
P(saida_5_nominal, Si, [(129,-1.995),(168,-1.995),(169.3,-2.176),(170.501,-2.706),(171.359,-3.386),(172.039,-4.244),(172.569,-5.445),(172.75,-6.745),(172.8,-20.725),(173.022,-21.668),(173.536,-22.764),(173.961,-23.354),(174.463,-23.88),(175.445,-24.587),(176.798,-25.111),(178,-25.25),(210,-25.25),(210,-24.75),(178,-24.75),(176.7,-24.569),(175.499,-24.039),(174.641,-23.359),(173.961,-22.501),(173.496,-21.51),(173.27,-20.438),(173.25,-6.745),(173.2,-6.02),(173.05,-5.308),(172.587,-4.19),(171.88,-3.208),(171.354,-2.706),(170.764,-2.281),(170.121,-1.942),(169.437,-1.695),(168.725,-1.545),(168,-1.495),(129,-1.495)])

saida_6_nominal = lib.new_cell('saida_6_nominal')
P(saida_6_nominal, Si, [(129,-4.505),(156.438,-4.525),(157.51,-4.751),(158.311,-5.105),(158.863,-5.464),(159.654,-6.22),(160.252,-7.138),(160.624,-8.167),(160.75,-9.255),(160.756,-70.242),(160.889,-71.202),(161.197,-72.121),(161.81,-73.164),(162.463,-73.88),(163.236,-74.464),(164.103,-74.895),(165.035,-75.161),(166,-75.25),(210,-75.25),(210,-74.75),(166,-74.75),(165.127,-74.669),(164.49,-74.504),(163.499,-74.039),(162.965,-73.654),(162.209,-72.863),(161.655,-71.919),(161.376,-71.088),(161.25,-70),(161.25,-9.255),(161.111,-8.053),(160.7,-6.915),(160.039,-5.901),(159.164,-5.065),(158.555,-4.668),(157.897,-4.36),(157.202,-4.144),(156.484,-4.027),(129,-4.005)])

entrada_nominal = lib.new_cell('entrada_nominal')
R(entrada_nominal, Si, [(-210.8,0.15,-170.8,0.65)])

hybrid90_y_gc_nominal = lib.new_cell('hybrid90_y_gc_nominal')
hybrid90_y_gc_nominal.add(gdstk.Reference(hybrid90_y_nominal, (0,0)))
hybrid90_y_gc_nominal.add(gdstk.Reference(saida_3_nominal, (0,0)))
hybrid90_y_gc_nominal.add(gdstk.Reference(gratingcoupler_te_oxide_, (210,75), rotation=3*pi/2))
hybrid90_y_gc_nominal.add(gdstk.Reference(saida_4_nominal, (0,0)))
hybrid90_y_gc_nominal.add(gdstk.Reference(gratingcoupler_te_oxide_, (210,25), rotation=3*pi/2))
hybrid90_y_gc_nominal.add(gdstk.Reference(saida_5_nominal, (0,0)))
hybrid90_y_gc_nominal.add(gdstk.Reference(gratingcoupler_te_oxide_, (210,-25), rotation=3*pi/2))
hybrid90_y_gc_nominal.add(gdstk.Reference(saida_6_nominal, (0,0)))
hybrid90_y_gc_nominal.add(gdstk.Reference(gratingcoupler_te_oxide_, (210,-75), rotation=3*pi/2))
hybrid90_y_gc_nominal.add(gdstk.Reference(entrada_nominal, (0,0)))
hybrid90_y_gc_nominal.add(gdstk.Reference(gratingcoupler_te_oxide_, (-210.8,0.4), rotation=pi/2))

lib.write_gds('hybrid90_y_gc_nominal.gds')
